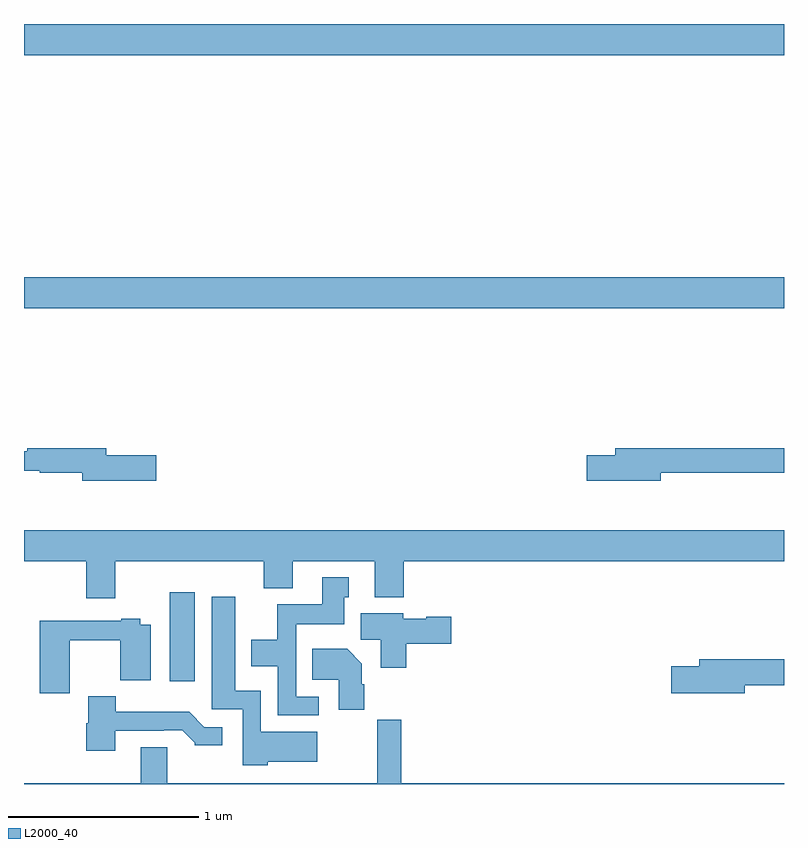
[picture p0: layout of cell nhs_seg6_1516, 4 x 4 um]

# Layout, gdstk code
import gdstk
lib = gdstk.Library(unit=1e-6, precision=1e-09)
def R(c, l, rs):  # rectangles x0, y0, x1, y1
    for r in rs: c.add(gdstk.rectangle(r[:2], r[2:], *l))
def P(c, l, *ps):  # polygons
    for p in ps: c.add(gdstk.Polygon(p, *l))
L2000_40 = (2000, 40)

nhs_seg6_1516 = lib.new_cell('nhs_seg6_1516')
R(nhs_seg6_1516, L2000_40, [(203.768,944.04,203.899,944.509), (203,946.004,207,946.168), (203,947.336,207,947.5)])
P(nhs_seg6_1516, L2000_40, [(206.35,945.138),(207,945.138),(207,945.266),(206.111,945.266),(206.111,945.23),(205.962,945.23),(205.962,945.095),(206.35,945.095)],
  [(203.695,945.23),(203.434,945.23),(203.434,945.266),(203.018,945.266),(203.018,945.251),(203,945.251),(203,945.15),(203.083,945.15),(203.083,945.138),(203.306,945.138),(203.306,945.095),(203.695,945.095)],
  [(203.479,944.672),(204.263,944.672),(204.263,944.531),(204.415,944.531),(204.415,944.672),(204.845,944.672),(204.845,944.483),(204.998,944.483),(204.998,944.672),(207,944.672),(207,944.836),(203,944.836),(203,944.672),(203.327,944.672),(203.327,944.478),(203.479,944.478)],
  [(204.55,943.959),(204.432,943.959),(204.432,944.342),(204.685,944.342),(204.685,944.484),(204.709,944.484),(204.709,944.587),(204.569,944.587),(204.569,944.446),(204.334,944.446),(204.334,944.26),(204.197,944.26),(204.197,944.12),(204.336,944.12),(204.336,943.863),(204.55,943.863)],
  [(204.282,943.616),(204.544,943.616),(204.544,943.774),(204.246,943.774),(204.246,943.99),(204.112,943.99),(204.112,944.485),(203.987,944.485),(203.987,943.893),(204.15,943.893),(204.15,943.598),(204.282,943.598)],
  [(205.013,944.237),(205.249,944.237),(205.249,944.379),(205.116,944.379),(205.116,944.371),(204.996,944.371),(204.996,944.398),(204.773,944.398),(204.773,944.26),(204.878,944.26),(204.878,944.112),(205.013,944.112)],
  [(203.242,944.257),(203.506,944.257),(203.506,944.045),(203.668,944.045),(203.668,944.338),(203.613,944.338),(203.613,944.371),(203.513,944.371),(203.513,944.358),(203.084,944.358),(203.084,943.977),(203.242,943.977)],
  [(204.791,944.024),(204.778,944.024),(204.778,944.134),(204.7,944.212),(204.517,944.212),(204.517,944.048),(204.656,944.048),(204.656,943.89),(204.791,943.89)],
  [(206.794,944.02),(207,944.02),(207,944.156),(206.555,944.156),(206.555,944.12),(206.406,944.12),(206.406,943.978),(206.794,943.978)],
  [(203.479,943.779),(203.735,943.779),(203.735,943.782),(203.834,943.782),(203.898,943.718),(203.898,943.703),(204.043,943.703),(204.043,943.8),(203.949,943.8),(203.871,943.879),(203.482,943.879),(203.482,943.963),(203.339,943.963),(203.339,943.821),(203.327,943.821),(203.327,943.674),(203.479,943.674)],
  [(207,943.504),(204.986,943.504),(204.986,943.837),(204.858,943.837),(204.858,943.504),(203.755,943.504),(203.755,943.694),(203.615,943.694),(203.615,943.504),(203,943.504),(203,943.5),(207,943.5)])

lib.write_gds('nhs_seg6_1516.gds')
